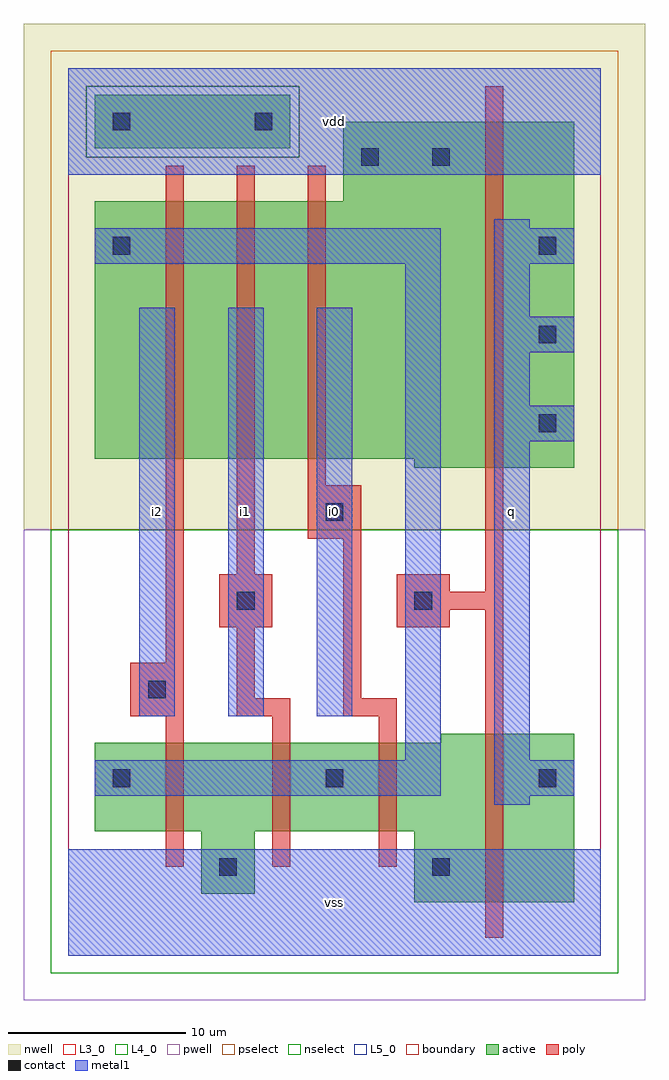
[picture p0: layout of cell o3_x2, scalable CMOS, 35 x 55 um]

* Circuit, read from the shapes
.subckt o3_x2 i0 i1 i2 q vdd vss
M1 vss i2 n1 VSUBS nfet w=5u l=1u
M2 n1 i1 vss VSUBS nfet w=5u l=1u
M3 vss i0 n1 VSUBS nfet w=5u l=1u
M4 q n1 vss VSUBS nfet w=9.5u l=1u
M5 n2 i2 n1 vdd pfet w=14.5u l=1u
M6 n3 i1 n2 vdd pfet w=14.5u l=1u
M7 vdd i0 n3 vdd pfet w=14.5u l=1u
M8 q n1 vdd vdd pfet w=19.5u l=1u
.ends

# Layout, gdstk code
import gdstk
lib = gdstk.Library(unit=1e-6, precision=1e-09)
def R(c, l, rs):  # rectangles x0, y0, x1, y1
    for r in rs: c.add(gdstk.rectangle(r[:2], r[2:], *l))
def A(c, l, x, y, w, h, nx, ny, dx, dy):  # array of equal rectangles
    R(c, l, [(x+i*dx, y+j*dy, x+i*dx+w, y+j*dy+h) for i in range(nx) for j in range(ny)])
L3_0 = (3, 0)
L4_0 = (4, 0)
L5_0 = (5, 0)
contact = (25, 0)
pwell = (41, 0)
nwell = (42, 0)
active = (43, 0)
pselect = (44, 0)
nselect = (45, 0)
poly = (46, 0)
metal1 = (49, 0)
boundary = (63, 0)

o3_x2 = lib.new_cell('o3_x2')
R(o3_x2, L3_0, [(19.5,3,28.5,7), (7.5,3.5,10.5,7), (1.5,7,28.5,12), (21,12,28.5,12.5)])
R(o3_x2, L4_0, [(19.5,27.5,28.5,28), (1.5,28,28.5,42.5), (15.5,42.5,28.5,47)])
R(o3_x2, L5_0, [(1.5,45.5,12.5,48.5)])
A(o3_x2, contact, 2.5, 9.5, 1, 1, 3, 1, 12, 0)
A(o3_x2, contact, 26.5, 29.5, 1, 1, 1, 3, 0, 5)
R(o3_x2, contact, [(8.5,4.5,9.5,5.5), (20.5,4.5,21.5,5.5), (4.5,14.5,5.5,15.5), (9.5,19.5,10.5,20.5), (19.5,19.5,20.5,20.5), (14.5,24.5,15.5,25.5), (2.5,39.5,3.5,40.5), (16.5,44.5,17.5,45.5), (20.5,44.5,21.5,45.5), (2.5,46.5,3.5,47.5), (10.5,46.5,11.5,47.5)])
R(o3_x2, pwell, [(-2.5,-2.5,32.5,24)])
R(o3_x2, nwell, [(-2.5,24,32.5,52.5)])
R(o3_x2, active, [(19.5,3,28.5,7), (7.5,3.5,10.5,7), (1.5,7,28.5,12), (21,12,28.5,12.5), (19.5,27.5,28.5,28), (1.5,28,28.5,42.5), (15.5,42.5,28.5,47), (1.5,45.5,12.5,48.5)])
R(o3_x2, pselect, [(-1,24,31,45), (-1,45,1,49), (13,45,31,49), (-1,49,31,51)])
R(o3_x2, nselect, [(-1,-1,31,24), (1,45,13,49)])
A(o3_x2, poly, 5.5, 5, 1, 8.5, 3, 1, 6, 0)
R(o3_x2, poly, [(23.5,1,24.5,19.5), (3.5,13.5,6.5,16.5), (9.5,13.5,12.5,14.5), (15.5,13.5,18.5,14.5), (9.5,14.5,10.5,18.5), (15.5,14.5,16.5,23.5), (5.5,16.5,6.5,44.5), (8.5,18.5,11.5,21.5), (18.5,18.5,21.5,19.5), (18.5,19.5,24.5,20.5), (18.5,20.5,21.5,21.5), (23.5,20.5,24.5,49), (9.5,21.5,10.5,44.5), (13.5,23.5,16.5,26.5), (13.5,26.5,14.5,44.5)])
R(o3_x2, metal1, [(0,0,30,6), (0,0,30,6), (24,8.5,26,9), (24,8.5,26,9), (1.5,9,21,11), (1.5,9,21,11), (24,9,28.5,11), (24,9,28.5,11), (19,11,21,39), (19,11,21,39), (24,11,26,29), (24,11,26,29), (4,13.5,6,36.5), (4,13.5,6,36.5), (9,13.5,11,36.5), (9,13.5,11,36.5), (14,13.5,16,36.5), (14,13.5,16,36.5), (24,29,28.5,31), (24,29,28.5,31), (24,31,26,34), (24,31,26,34), (24,34,28.5,36), (24,34,28.5,36), (24,36,26,39), (24,36,26,39), (1.5,39,21,41), (1.5,39,21,41), (24,39,28.5,41), (24,39,28.5,41), (24,41,26,41.5), (24,41,26,41.5), (0,44,30,50), (0,44,30,50)])
R(o3_x2, boundary, [(0,0,30,50)])
o3_x2.add(gdstk.Label('i2', (5,25), layer=49, texttype=0))
o3_x2.add(gdstk.Label('i1', (10,25), layer=49, texttype=0))
o3_x2.add(gdstk.Label('vss', (15,3), layer=49, texttype=0))
o3_x2.add(gdstk.Label('i0', (15,25), layer=49, texttype=0))
o3_x2.add(gdstk.Label('vdd', (15,47), layer=49, texttype=0))
o3_x2.add(gdstk.Label('q', (25,25), layer=49, texttype=0))

lib.write_gds('o3_x2.gds')
